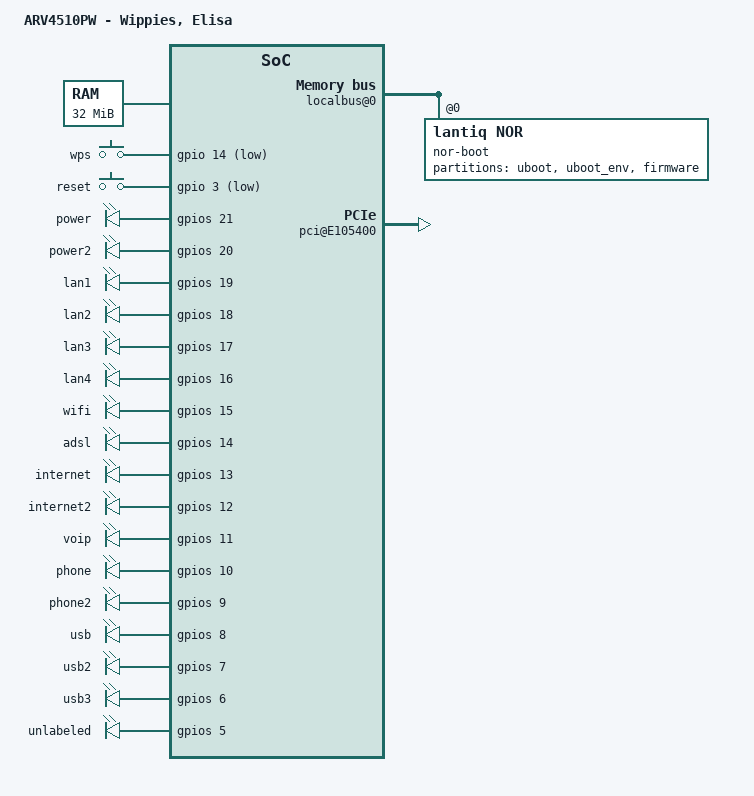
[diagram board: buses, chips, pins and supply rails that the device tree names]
/dts-v1/;

/include/ "danube.dtsi"

/ {
	model = "ARV4510PW - Wippies, Elisa";

	chosen {
		bootargs = "console=ttyLTQ0,115200 init=/etc/preinit";

		leds {
			boot = &power;
			failsafe = &power2;
			running = &power;

			dsl = &adsl;
			internet = &internet;
			usb = &usb;
			usb2 = &usb2;
			wifi = &wifi;
		};
	};

	memory@0 {
		reg = <0x0 0x2000000>;
	};

	sram@1F000000 {
		vmmc@107000 {
			status = "okay";
		};
	};

	fpi@10000000 {
		localbus@0 {
			nor-boot@0 {
				compatible = "lantiq,nor";
				bank-width = <2>;
				reg = <0 0x0 0x1000000>;
				#address-cells = <1>;
				#size-cells = <1>;

				lantiq,noxip;

				partition@0 {
					label = "uboot";
					reg = <0x00000 0x40000>;
					read-only;
				};

				partition@40000 {
					label = "uboot_env";
					reg = <0x40000 0x20000>;
					read-only;
				};

				partition@60000 {
					label = "firmware";
					reg = <0x60000 0xfa0000>;
				};
			};
		};
		gpio: pinmux@E100B10 {
			pinctrl-names = "default";
			pinctrl-0 = <&state_default>;

			state_default: pinmux {
				ebu {
					lantiq,groups = "ebu a23";
					lantiq,function = "ebu";
					lantiq,open-drain = <0>;
					lantiq,output = <1>;
				};
				stp {
					lantiq,groups = "stp";
					lantiq,function = "stp";
					lantiq,open-drain = <0>;
					lantiq,output = <1>;
				};
				exin {
					lantiq,groups = "exin1", "exin2";
					lantiq,function = "exin";
					lantiq,output = <0>;
				};
				pci_in {
					lantiq,groups = "req1", "req2";
					lantiq,function = "pci";
					lantiq,output = <0>;
				};
				pci_out {
					lantiq,groups = "gnt1", "gnt2";
					lantiq,function = "pci";
					lantiq,open-drain = <0>;
					lantiq,pull = <0>;
					lantiq,output = <1>;
				};
				pci_rst {
					lantiq,pins = "io21";
					lantiq,open-drain = <0>;
					lantiq,output = <1>;
				};
				buttons {
					lantiq,pins = "io3", "io14";
					lantiq,pull = <2>;
					lantiq,output = <0>;
				};
			};
		};

		gpios: stp@E100BB0 {
			status = "okay";
			lantiq,groups = <0x7>;
		};

		etop@E180000 {
			phy-mode = "rmii";
		};

		pci@E105400 {
			status = "okay";
			lantiq,external-clock;
			interrupt-map = <
				0x6000 0 0 1 &icu0 135
				0x7800 0 0 1 &icu0 66
				0x7800 0 0 2 &icu0 66
				0x7800 0 0 3 &icu0 66
			>;
			gpio-reset = <&gpio 21 0>;
			req-mask = <0x7>;
		};

	};

	gpio-keys-polled {
		compatible = "gpio-keys-polled";
		#address-cells = <1>;
		#size-cells = <0>;
		poll-interval = <100>;

		wps {
			label = "wps";
			gpios = <&gpio 14 1>;
			linux,code = <0x211>;
		};
		reset {
			label = "reset";
			gpios = <&gpio 3 1>;
			linux,code = <0x198>;
		};
	};

	gpio-leds {
		compatible = "gpio-leds";
		power: power {
			label = "power";
			gpios = <&gpios 21 0>;
			default-state = "keep";
		};
		power2: power2 {
			label = "power2";
			gpios = <&gpios 20 0>;
		};
		lan1 {
			label = "lan1";
			gpios = <&gpios 19 0>;
		};
		lan2 {
			label = "lan2";
			gpios = <&gpios 18 0>;
		};
		lan3 {
			label = "lan3";
			gpios = <&gpios 17 0>;
		};
		lan4 {
			label = "lan4";
			gpios = <&gpios 16 0>;
		};
		wifi: wifi {
			label = "wifi";
			gpios = <&gpios 15 0>;
		};
		adsl: adsl {
			label = "adsl";
			gpios = <&gpios 14 0>;
		};
		internet: internet {
			label = "internet";
			gpios = <&gpios 13 0>;
		};
		internet2 {
			label = "internet2";
			gpios = <&gpios 12 0>;
		};
		voip {
			label = "voip";
			gpios = <&gpios 11 0>;
		};
		phone {
			label = "phone";
			gpios = <&gpios 10 0>;
		};
		phone2 {
			label = "phone2";
			gpios = <&gpios 9 0>;
		};
		usb: usb {
			label = "usb";
			gpios = <&gpios 8 0>;
		};
		usb2: usb2 {
			label = "usb2";
			gpios = <&gpios 7 0>;
		};
		usb3 {
			label = "usb3";
			gpios = <&gpios 6 0>;
		};
		unlabeled {
			label = "unlabeled";
			gpios = <&gpios 5 0>;
		};
	};
};
